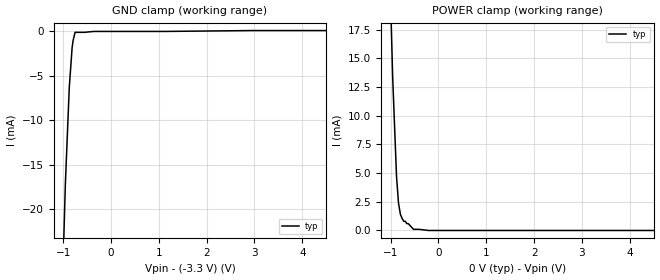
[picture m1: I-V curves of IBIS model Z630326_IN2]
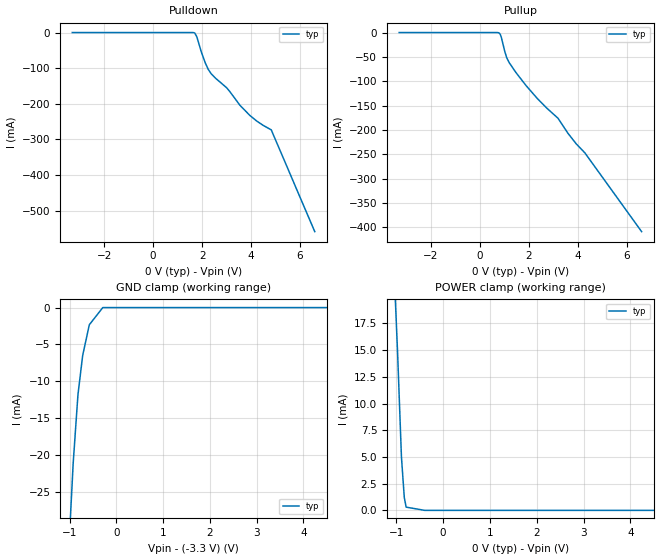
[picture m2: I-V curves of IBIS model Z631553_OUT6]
[IBIS Ver] 3.1
[File Name] mc10ep11dt_-33.ibs
[File Rev] 2.0
[Source] Derived EP16 from Measured and created by ICX Technology
[Date] 10/7/2003
[Copyright]
| (C) COPYRIGHT 1993-2000
| MENTOR GRAPHICS CORPORATION
| ICX STANDARD LIBRARY, ICX PROJECT MODELING,
| ICX CUSTOM MODELING, ICX VENDOR MODEL
| ALL RIGHTS RESERVED.
| THE FOLLOWING ARE TRADEMARKS OR SERVICE MARKS OF
| MENTOR GRAPHICS CORPORATION:ICX (R), ICX STANDARD
| LIBRARY(R), ICX PROJECT MODELING(R), ICX CUSTOM
| MODELING(R), qualityIBIS(TM), MODELVIEWER(TM),
| AND MODELEDITOR(TM)
| ALL COPIES OF SOFTWARE, INCLUDING BUT NOT LIMITED TO
| ANY MODIFICATIONS, ENHANCEMENTS OR DERIVATIVE WORKS,
| MUST CONTAIN ALL MENTOR GRAPHICS CORPORATION'S
| NOTICES AND LEGENDS, INCLUDING THOSE EMBEDDED IN
| SOFTWARE AND THOSE AFFIXED TO SOFTWARE MEDIUM
| AND CONTAINER, AS RECEIVED FROM MENTOR GRAPHICS
| CORPORATION.
|  ZAP Model Builder 2.7
[Component] MC10EP11DT_-33
[Manufacturer] On Semiconductor
[Package]
| variable   typ   min   max
R_pkg  .044ohms NA NA
L_pkg  1.82nH NA NA
C_pkg  .083pF NA NA
[Pin] signal_name  model_name  R_pin  L_pin C_pin
1 Q Z631553_OUT6 .044 1.802n .083p
2 _Q Z631553_OUT6 .044 1.802n .083p
3 Q Z631553_OUT6 .044 1.802n .083p
4 _Q Z631553_OUT6 .044 1.802n .083p
5 VEE GND .044 1.802n .083p
6 _D Z630326_IN2 .044 1.802n .083p
7 D Z630326_IN2 .044 1.802n .083p
8 VCC POWER .044 1.802n .083p
[Diff Pin] inv_pin vdiff tdelay_typ tdelay_min tdelay_max
7 6 150mv NA NA NA
1 2 NA .005ns NA .02ns
3 4 NA .005ns NA .02ns
| Models and submodels in the file (2): Z630326_IN2 (Input_ECL), Z631553_OUT6 (Output_ECL)
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| (C) COPYRIGHT 1993-2000
| MENTOR GRAPHICS CORPORATION
| ICX STANDARD LIBRARY, ICX PROJECT MODELING,
| ICX CUSTOM MODELING, ICX VENDOR MODEL
| ALL RIGHTS RESERVED.
| THE FOLLOWING ARE TRADEMARKS OR SERVICE MARKS OF
| MENTOR GRAPHICS CORPORATION:ICX (R), ICX STANDARD
| LIBRARY(R), ICX PROJECT MODELING(R), ICX CUSTOM
| MODELING(R), qualityIBIS(TM), MODELVIEWER(TM),
| AND MODELEDITOR(TM)
| ALL COPIES OF SOFTWARE, INCLUDING BUT NOT LIMITED TO
| ANY MODIFICATIONS, ENHANCEMENTS OR DERIVATIVE WORKS,
| MUST CONTAIN ALL MENTOR GRAPHICS CORPORATION'S
| NOTICES AND LEGENDS, INCLUDING THOSE EMBEDDED IN
| SOFTWARE AND THOSE AFFIXED TO SOFTWARE MEDIUM
| AND CONTAINER, AS RECEIVED FROM MENTOR GRAPHICS
| CORPORATION.
| Model Application Version 1.89 2/18/99.
[Model] Z630326_IN2
Model_type Input_ECL
Vinl = -1.625V
Vinh = -1.225V
C_comp 2.000pF NA NA
| variable typ   min   max
[Voltage Range] -3.300V NA NA
[GND Clamp Reference] -3.3000V NA NA
[POWER Clamp Reference] 0.000V NA NA
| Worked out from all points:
|   GND clamp passes 1 mA (typ) near -0.79 V on its own axis
|   POWER clamp passes 1 mA (typ) near -0.75 V on its own axis
[GND Clamp]
-3.3V     -459.2mA   NA         NA
-953mV    -17.2mA    NA         NA
-871mV    -6.3mA     NA         NA
-811mV    -1.8mA     NA         NA
-790mV    -1mA       NA         NA
-749.8mV  -100uA     NA         NA
-552.3mV  -100uA     NA         NA
-354.8mV  0A         NA         NA
1.136V    0A         NA         NA
2.96V     100uA      NA         NA
6.6V      100uA      NA         NA
[POWER Clamp]
-3.3V     452.1mA    NA         NA
-1.058V   29mA       NA         NA
-957mV    13.4mA     NA         NA
-876mV    4.7mA      NA         NA
-835mV    2.4mA      NA         NA
-795mV    1.4mA      NA         NA
-754mV    1mA        NA         NA
-723.5mV  800uA      NA         NA
-632mV    600uA      NA         NA
-520.5mV  100uA      NA         NA
-204.5mV  0A         NA         NA
6.6V      0A         NA         NA
| (C) COPYRIGHT 1993-2000
| MENTOR GRAPHICS CORPORATION
| ICX STANDARD LIBRARY, ICX PROJECT MODELING,
| ICX CUSTOM MODELING, ICX VENDOR MODEL
| ALL RIGHTS RESERVED.
| THE FOLLOWING ARE TRADEMARKS OR SERVICE MARKS OF
| MENTOR GRAPHICS CORPORATION:ICX (R), ICX STANDARD
| LIBRARY(R), ICX PROJECT MODELING(R), ICX CUSTOM
| MODELING(R), qualityIBIS(TM), MODELVIEWER(TM),
| AND MODELEDITOR(TM)
| ALL COPIES OF SOFTWARE, INCLUDING BUT NOT LIMITED TO
| ANY MODIFICATIONS, ENHANCEMENTS OR DERIVATIVE WORKS,
| MUST CONTAIN ALL MENTOR GRAPHICS CORPORATION'S
| NOTICES AND LEGENDS, INCLUDING THOSE EMBEDDED IN
| SOFTWARE AND THOSE AFFIXED TO SOFTWARE MEDIUM
| AND CONTAINER, AS RECEIVED FROM MENTOR GRAPHICS
| CORPORATION.
| Model Application Version 1.89 2/18/99.
[Model] Z631553_OUT6
Model_type Output_ECL
Vref=-2.000V
Rref=50.00ohms
Cref=0.000F
Vmeas=-1.345V
C_comp 2.000pF NA NA
| variable typ   min   max
[Voltage Range] -3.300V NA NA
[POWER Clamp Reference] 0.000V NA NA
[Pullup Reference] 0.000V NA NA
[Pulldown Reference] 0.000V NA NA
[GND Clamp Reference] -3.300V NA NA
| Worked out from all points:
|   POWER clamp passes 1 mA (typ) near -0.82 V on its own axis
[GND Clamp]
-3.3V     -317.9mA   NA         NA
-922mV    -21.13mA   NA         NA
-820mV    -11.83mA   NA         NA
-719mV    -6.5mA     NA         NA
-577mV    -2.333mA   NA         NA
-288.5mV  0A         NA         NA
6.6V      0A         NA         NA
[Pulldown]
-3.3V     0A         NA         NA
1.703V    -1.6mA     NA         NA
1.784V    -11.8mA    NA         NA
1.966V    -53.9mA    NA         NA
2.128V    -85.1mA    NA         NA
2.371V    -115.7mA   NA         NA
3V        -154.9mA   NA         NA
3.547V    -204.5mA   NA         NA
3.953V    -233mA     NA         NA
4.236V    -248.9mA   NA         NA
4.824V    -273.4mA   NA         NA
6.6V      -559.3mA   NA         NA
[Pullup]
-3.3V     0A         NA         NA
791mV     -1.2mA     NA         NA
872mV     -9.8mA     NA         NA
1.014V    -39.1mA    NA         NA
1.095V    -52.1mA    NA         NA
1.48V     -82.9mA    NA         NA
2.351V    -136mA     NA         NA
3.183V    -175.8mA   NA         NA
3.588V    -206.6mA   NA         NA
3.932V    -228.7mA   NA         NA
4.277V    -246.7mA   NA         NA
6.6V      -408.8mA   NA         NA
[POWER Clamp]
-3.3V     255.7mA    NA         NA
-973mV    14.6mA     NA         NA
-892mV    5mA        NA         NA
-831mV    1.2mA      NA         NA
-791mV    300uA      NA         NA
-395.5mV  0A         NA         NA
6.6V      0A         NA         NA
[Ramp]
| variable typ min max
dV/dt_r 382.6m/97.77p NA NA
dV/dt_f 382.6m/87.03p NA NA
R_load = 50.00Ohms
